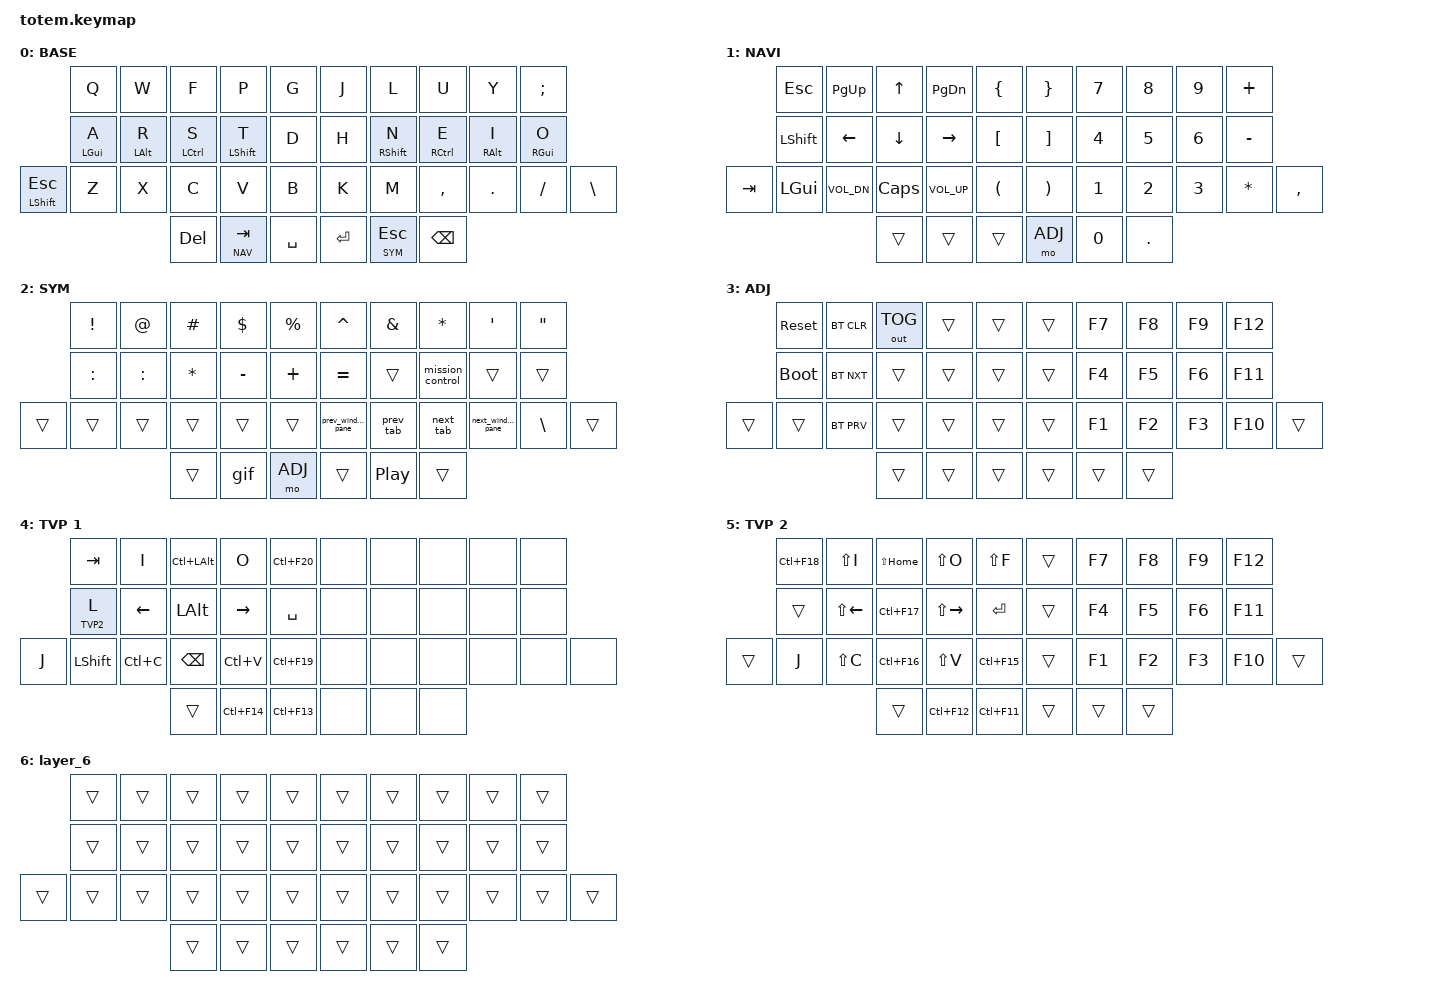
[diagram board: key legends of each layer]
//
//                                                        ▀▀▀▀▀     ▀▀▀▀▀          ▀▀█▀▀
//                                                        ▄▀▀▀▄  ▄  ▄▀▀▀▄  ▄  ▄▀▀▀▄  █  ▄▀▀▀▄
//                                                        █   █  █  █   █  █  █   █  █  █   █
//                                                         ▀▀▀   █   ▀▀▀   █   ▀▀▀   ▀   ▀▀▀
//                                                               █      ▄▄▄█▄▄▄    █   █  
//                                                               ▀      █  █  █     █▄█
//                                                             ▀▀▀▀▀    █  █  █      ▀
//                                                                      ▀  ▀  ▀
//
// ▄▄▄▄▄▄▄▄▄▄▄▄▄▄▄▄▄▄▄▄▄▄▄▄▄▄▄▄▄▄▄▄▄▄▄▄▄▄▄▄▄▄▄▄▄▄▄▄▄▄▄▄▄▄▄▄▄▄▄▄▄▄▄▄▄▄▄▄▄▄▄▄▄▄▄▄▄▄▄▄▄▄▄▄▄▄▄▄▄▄▄▄▄▄▄▄▄▄▄▄▄▄▄▄▄▄▄▄▄▄▄▄▄▄▄▄▄▄▄▄▄▄▄▄▄▄▄▄▄▄▄▄▄▄▄▄▄▄▄▄▄▄▄▄▄▄▄▄▄

#include <behaviors.dtsi>
#include <dt-bindings/zmk/bt.h>
#include <dt-bindings/zmk/keys.h>
#include <dt-bindings/zmk/outputs.h>

#define BASE 0
#define NAV  1
#define SYM  2
#define ADJ  3
#define TVP1 4
#define TVP2 5

&mt {
    quick-tap-ms = <100>;
    global-quick-tap;
    flavor = "tap-preferred";
    tapping-term-ms = <170>;
};

/ {
    combos {
        compatible = "zmk,combos";

        combo_esc {
            timeout-ms = <50>;
            key-positions = <0 1>;
            bindings = <&kp ESC>;
        };

        combo_tvp {
            timeout-ms = <100>;
            key-positions = <11 12 13>;
            bindings = <&tog TVP1>;
        };
    };

    macros {
        gif: gif {
            label = "giphy";
            compatible = "zmk,behavior-macro";
            #binding-cells = <0>;
            bindings =
                <&macro_press>,
                <&kp LSHFT>,
                <&macro_tap>,
                <&kp N2>,
                <&macro_release>,
                <&kp LSHFT>,
                <&macro_tap>,
                <&kp G &kp I &kp F>;
        };

        next_window_pane: next_window_pane {
            compatible = "zmk,behavior-macro";
            #binding-cells = <0>;
            bindings =
                <&macro_press>,
                <&kp LCTRL &kp LEFT_GUI>,
                <&macro_tap>,
                <&kp RIGHT>,
                <&macro_release>,
                <&kp LCTRL &kp LEFT_GUI>;

            label = "NEXT_WINDOW_PANE";
        };

        prev_window_pane: prev_window_pane {
            compatible = "zmk,behavior-macro";
            #binding-cells = <0>;
            bindings =
                <&macro_press>,
                <&kp LCTRL &kp LEFT_GUI>,
                <&macro_tap>,
                <&kp LEFT>,
                <&macro_release>,
                <&kp LCTRL &kp LEFT_GUI>;

            label = "PREV_WINDOW_PANE";
        };

        next_tab: next_tab {
            compatible = "zmk,behavior-macro";
            #binding-cells = <0>;
            bindings =
                <&macro_press>,
                <&kp LCTRL>,
                <&macro_tap>,
                <&kp LEFT_SHIFT>,
                <&macro_release>,
                <&kp LCTRL>;

            label = "NEXT_TAB";
        };

        prev_tab: prev_tab {
            compatible = "zmk,behavior-macro";
            #binding-cells = <0>;
            bindings =
                <&macro_press>,
                <&kp LCTRL &kp LEFT_SHIFT>,
                <&macro_tap>,
                <&kp LEFT_SHIFT>,
                <&macro_release>,
                <&kp LCTRL &kp LSHFT>;

            label = "PREV_TAB";
        };

        mission_control: mission_control {
            compatible = "zmk,behavior-macro";
            #binding-cells = <0>;
            bindings =
                <&macro_press>,
                <&kp LEFT_GUI>,
                <&macro_tap>,
                <&kp TAB>,
                <&macro_release>,
                <&kp LEFT_GUI>;

            label = "MISSION_CONTROL";
        };
    };

    keymap {
        compatible = "zmk,keymap";

        // ▄▄▄▄▄▄▄▄▄▄▄▄▄▄▄▄▄▄▄▄▄▄▄▄▄▄▄▄▄▄▄▄▄▄▄▄▄▄▄▄▄▄▄▄▄▄▄▄▄▄▄▄▄▄▄▄▄▄▄▄▄▄▄▄▄▄▄▄▄▄▄▄▄▄▄▄▄▄▄▄▄▄▄▄▄▄▄▄▄▄▄▄▄▄▄▄▄▄▄▄▄▄▄▄▄▄▄▄▄▄▄▄▄▄▄▄▄▄▄▄▄▄▄▄▄▄▄▄▄▄▄▄▄▄▄▄▄▄▄▄▄▄▄▄▄▄▄▄▄

        base_layer {
            // ┏━━━━━━━━━━━━━━━━━━━━━━━━━━━━━━━━━━━━━━━┓

            label = "BASE";

            // ┗━━━━━━━━━━━━━━━━━━━━━━━━━━━━━━━━━━━━━━━┛
            //             ┏━━━━━━━━━━━┳━━━━━━━━━━━┳━━━━━━━━━━━┳━━━━━━━━━━━┳━━━━━━━━━━━┓   ┏━━━━━━━━━━━┳━━━━━━━━━━━┳━━━━━━━━━━━┳━━━━━━━━━━━┳━━━━━━━━━━━┓
            //             ┃     Q     ┃     W     ┃     F     ┃     P     ┃     G     ┃   ┃     J     ┃     L     ┃     U     ┃     Y     ┃     ;     ┃
            //             ┣━━━━━━━━━━━╋━━━━━━━━━━━╋━━━━━━━━━━━╋━━━━━━━━━━━╋━━━━━━━━━━━┫   ┣━━━━━━━━━━━╋━━━━━━━━━━━╋━━━━━━━━━━━╋━━━━━━━━━━━╋━━━━━━━━━━━┫
            //             ┃     A     ┃     R     ┃     S     ┃     T     ┃     D     ┃   ┃     H     ┃     N     ┃     E     ┃     I     ┃     O     ┃
            // ┏━━━━━━━━━━━╋━━━━━━━━━━━╋━━━━━━━━━━━╋━━━━━━━━━━━╋━━━━━━━━━━━╋━━━━━━━━━━━┫   ┣━━━━━━━━━━━╋━━━━━━━━━━━╋━━━━━━━━━━━╋━━━━━━━━━━━╋━━━━━━━━━━━╋━━━━━━━━━━━┓
            // ┃     Q     ┃     Z     ┃     X     ┃     C     ┃     V     ┃     B     ┃   ┃     K     ┃     M     ┃     ,     ┃     .     ┃     /     ┃     \     ┃
            // ┗━━━━━━━━━━━┻━━━━━━━━━━━┻━━━━━━━━━━━╋━━━━━━━━━━━╋━━━━━━━━━━━╋━━━━━━━━━━━┫   ┣━━━━━━━━━━━╋━━━━━━━━━━━╋━━━━━━━━━━━╋━━━━━━━━━━━┻━━━━━━━━━━━┻━━━━━━━━━━━┛
            //                                     ┃    DEL    ┃    TAB    ┃    SPC    ┃   ┃   ENTER   ┃           ┃   BSPC    ┃
            //                                     ┗━━━━━━━━━━━┻━━━━━━━━━━━┻━━━━━━━━━━━┛   ┗━━━━━━━━━━━┻━━━━━━━━━━━┻━━━━━━━━━━━┛

            bindings = <
                       &kp Q       &kp W       &kp F        &kp P        &kp G        &kp J    &kp L        &kp U        &kp Y       &kp SEMI
                       &mt LGUI A  &mt LALT R  &mt LCTRL S  &mt LSHFT T  &kp D        &kp H    &mt RSHFT N  &mt RCTRL E  &mt RALT I  &mt RGUI O
&mt LEFT_SHIFT ESCAPE  &kp Z       &kp X       &kp C        &kp V        &kp B        &kp K    &kp M        &kp COMMA    &kp DOT     &kp FSLH    &kp BSLH
                                               &kp DEL      &lt NAV TAB  &kp SPACE    &kp RET  &lt SYM ESC  &kp BSPC
            >;
        };

        // ▄▄▄▄▄▄▄▄▄▄▄▄▄▄▄▄▄▄▄▄▄▄▄▄▄▄▄▄▄▄▄▄▄▄▄▄▄▄▄▄▄▄▄▄▄▄▄▄▄▄▄▄▄▄▄▄▄▄▄▄▄▄▄▄▄▄▄▄▄▄▄▄▄▄▄▄▄▄▄▄▄▄▄▄▄▄▄▄▄▄▄▄▄▄▄▄▄▄▄▄▄▄▄▄▄▄▄▄▄▄▄▄▄▄▄▄▄▄▄▄▄▄▄▄▄▄▄▄▄▄▄▄▄▄▄▄▄▄▄▄▄▄▄▄▄▄▄▄▄

        nav_layer {
            // ┏━━━━━━━━━━━━━━━━━━━━━━━━━━━━━━━━━━━━━━━┓

            label = "NAVI";

            // ┗━━━━━━━━━━━━━━━━━━━━━━━━━━━━━━━━━━━━━━━┛
            //             ┏━━━━━━━━━━━┳━━━━━━━━━━━┳━━━━━━━━━━━┳━━━━━━━━━━━┳━━━━━━━━━━━┓   ┏━━━━━━━━━━━┳━━━━━━━━━━━┳━━━━━━━━━━━┳━━━━━━━━━━━┳━━━━━━━━━━━┓
            //             ┃           ┃           ┃     UP    ┃           ┃     {     ┃   ┃     }     ┃     7     ┃     8     ┃     9     ┃     +     ┃
            //             ┣━━━━━━━━━━━╋━━━━━━━━━━━╋━━━━━━━━━━━╋━━━━━━━━━━━╋━━━━━━━━━━━┫   ┣━━━━━━━━━━━╋━━━━━━━━━━━╋━━━━━━━━━━━╋━━━━━━━━━━━╋━━━━━━━━━━━┫
            //             ┃   SHIFT   ┃   LEFT    ┃    DOWN   ┃   RIGHT   ┃     [     ┃   ┃     ]     ┃     4     ┃     5     ┃     6     ┃     -     ┃
            // ┏━━━━━━━━━━━╋━━━━━━━━━━━╋━━━━━━━━━━━╋━━━━━━━━━━━╋━━━━━━━━━━━╋━━━━━━━━━━━┫   ┣━━━━━━━━━━━╋━━━━━━━━━━━╋━━━━━━━━━━━╋━━━━━━━━━━━╋━━━━━━━━━━━╋━━━━━━━━━━━┓
            // ┃           ┃           ┃   P UP    ┃  C LOCK   ┃  P DOWN   ┃     (     ┃   ┃     )     ┃     1     ┃     2     ┃     3     ┃     *     ┃           ┃
            // ┗━━━━━━━━━━━┻━━━━━━━━━━━┻━━━━━━━━━━━╋━━━━━━━━━━━╋━━━━━━━━━━━╋━━━━━━━━━━━┫   ┣━━━━━━━━━━━╋━━━━━━━━━━━╋━━━━━━━━━━━╋━━━━━━━━━━━┻━━━━━━━━━━━┻━━━━━━━━━━━┛
            //                                     ┃           ┃    TAB    ┃    SPC    ┃   ┃    DEL    ┃     0     ┃           ┃
            //                                     ┗━━━━━━━━━━━┻━━━━━━━━━━━┻━━━━━━━━━━━┛   ┗━━━━━━━━━━━┻━━━━━━━━━━━┻━━━━━━━━━━━┛

            bindings = <
         &kp ESC       &kp PAGE_UP   &kp UP    &kp PAGE_DOWN    &kp LBRC    &kp RBRC  &kp N7        &kp N8        &kp N9        &kp PLUS
         &kp LSHFT     &kp LEFT      &kp DOWN  &kp RIGHT        &kp LBKT    &kp RBKT  &kp NUMBER_4  &kp NUMBER_5  &kp N6        &kp MINUS
&kp TAB  &kp LEFT_GUI  &kp C_VOL_DN  &kp CAPS  &kp C_VOLUME_UP  &kp LPAR    &kp RPAR  &kp NUMBER_1  &kp NUMBER_2  &kp NUMBER_3  &kp ASTERISK  &kp COMMA
                                     &trans    &trans           &trans      &mo ADJ   &kp N0        &kp PERIOD
            >;
        };

        // ▄▄▄▄▄▄▄▄▄▄▄▄▄▄▄▄▄▄▄▄▄▄▄▄▄▄▄▄▄▄▄▄▄▄▄▄▄▄▄▄▄▄▄▄▄▄▄▄▄▄▄▄▄▄▄▄▄▄▄▄▄▄▄▄▄▄▄▄▄▄▄▄▄▄▄▄▄▄▄▄▄▄▄▄▄▄▄▄▄▄▄▄▄▄▄▄▄▄▄▄▄▄▄▄▄▄▄▄▄▄▄▄▄▄▄▄▄▄▄▄▄▄▄▄▄▄▄▄▄▄▄▄▄▄▄▄▄▄▄▄▄▄▄▄▄▄▄▄▄

        sim_layer {
            // ┏━━━━━━━━━━━━━━━━━━━━━━━━━━━━━━━━━━━━━━━┓

            label = "SYM";

            // ┗━━━━━━━━━━━━━━━━━━━━━━━━━━━━━━━━━━━━━━━┛
            //             ┏━━━━━━━━━━━┳━━━━━━━━━━━┳━━━━━━━━━━━┳━━━━━━━━━━━┳━━━━━━━━━━━┓   ┏━━━━━━━━━━━┳━━━━━━━━━━━┳━━━━━━━━━━━┳━━━━━━━━━━━┳━━━━━━━━━━━┓
            //             ┃     !     ┃     @     ┃     #     ┃     $     ┃     %     ┃   ┃     ˆ     ┃     &     ┃     Ü     ┃     '     ┃     "     ┃
            //             ┣━━━━━━━━━━━╋━━━━━━━━━━━╋━━━━━━━━━━━╋━━━━━━━━━━━╋━━━━━━━━━━━┫   ┣━━━━━━━━━━━╋━━━━━━━━━━━╋━━━━━━━━━━━╋━━━━━━━━━━━╋━━━━━━━━━━━┫
            //             ┃     Ä     ┃           ┃    SZ     ┃           ┃           ┃   ┃   MUTE    ┃   YEN     ┃   EURO    ┃  POUND    ┃     Ö     ┃
            // ┏━━━━━━━━━━━╋━━━━━━━━━━━╋━━━━━━━━━━━╋━━━━━━━━━━━╋━━━━━━━━━━━╋━━━━━━━━━━━┫   ┣━━━━━━━━━━━╋━━━━━━━━━━━╋━━━━━━━━━━━╋━━━━━━━━━━━╋━━━━━━━━━━━╋━━━━━━━━━━━┓
            // ┃           ┃  EMAIL1   ┃  EMAIL2   ┃           ┃           ┃           ┃   ┃   VOL-    ┃   VOL+    ┃   LAST    ┃   NEXT    ┃     \     ┃           ┃
            // ┗━━━━━━━━━━━┻━━━━━━━━━━━┻━━━━━━━━━━━╋━━━━━━━━━━━╋━━━━━━━━━━━╋━━━━━━━━━━━┫   ┣━━━━━━━━━━━╋━━━━━━━━━━━╋━━━━━━━━━━━╋━━━━━━━━━━━┻━━━━━━━━━━━┻━━━━━━━━━━━┛
            //                                     ┃           ┃    GIF    ┃    ADJ    ┃   ┃           ┃           ┃           ┃
            //                                     ┗━━━━━━━━━━━┻━━━━━━━━━━━┻━━━━━━━━━━━┛   ┗━━━━━━━━━━━┻━━━━━━━━━━━┻━━━━━━━━━━━┛

            bindings = <
        &kp EXCL   &kp AT     &kp HASH      &kp DLLR   &kp PRCNT    &kp CARET          &kp AMPS   &kp ASTERISK      &kp SQT            &kp DQT
        &kp COLON  &kp COLON  &kp ASTERISK  &kp MINUS  &kp PLUS     &kp EQUAL          &trans     &mission_control  &trans             &trans
&trans  &trans     &trans     &trans        &trans     &trans       &prev_window_pane  &prev_tab  &next_tab         &next_window_pane  &kp BSLH  &trans
                              &trans        &gif       &mo ADJ      &trans             &kp C_PP   &trans
            >;
        };

        // ▄▄▄▄▄▄▄▄▄▄▄▄▄▄▄▄▄▄▄▄▄▄▄▄▄▄▄▄▄▄▄▄▄▄▄▄▄▄▄▄▄▄▄▄▄▄▄▄▄▄▄▄▄▄▄▄▄▄▄▄▄▄▄▄▄▄▄▄▄▄▄▄▄▄▄▄▄▄▄▄▄▄▄▄▄▄▄▄▄▄▄▄▄▄▄▄▄▄▄▄▄▄▄▄▄▄▄▄▄▄▄▄▄▄▄▄▄▄▄▄▄▄▄▄▄▄▄▄▄▄▄▄▄▄▄▄▄▄▄▄▄▄▄▄▄▄▄▄▄

        adjust_layer {
            // ┏━━━━━━━━━━━━━━━━━━━━━━━━━━━━━━━━━━━━━━━┓

            label = "ADJ";

            // ┗━━━━━━━━━━━━━━━━━━━━━━━━━━━━━━━━━━━━━━━┛
            //             ┏━━━━━━━━━━━┳━━━━━━━━━━━┳━━━━━━━━━━━┳━━━━━━━━━━━┳━━━━━━━━━━━┓   ┏━━━━━━━━━━━┳━━━━━━━━━━━┳━━━━━━━━━━━┳━━━━━━━━━━━┳━━━━━━━━━━━┓
            //             ┃   RESET   ┃ BT CLEAR  ┃  OUT TOG  ┃           ┃           ┃   ┃           ┃    F7     ┃    F8     ┃    F9     ┃    F12    ┃
            //             ┣━━━━━━━━━━━╋━━━━━━━━━━━╋━━━━━━━━━━━╋━━━━━━━━━━━╋━━━━━━━━━━━┫   ┣━━━━━━━━━━━╋━━━━━━━━━━━╋━━━━━━━━━━━╋━━━━━━━━━━━╋━━━━━━━━━━━┫
            //             ┃ BOOTLOAD  ┃ BT NEXT   ┃           ┃           ┃           ┃   ┃           ┃    F4     ┃    F5     ┃    F6     ┃    F11    ┃
            // ┏━━━━━━━━━━━╋━━━━━━━━━━━╋━━━━━━━━━━━╋━━━━━━━━━━━╋━━━━━━━━━━━╋━━━━━━━━━━━┫   ┣━━━━━━━━━━━╋━━━━━━━━━━━╋━━━━━━━━━━━╋━━━━━━━━━━━╋━━━━━━━━━━━╋━━━━━━━━━━━┓
            // ┃           ┃           ┃ BT PREV   ┃           ┃           ┃           ┃   ┃           ┃    F1     ┃    F2     ┃    F3     ┃    F10    ┃           ┃
            // ┗━━━━━━━━━━━┻━━━━━━━━━━━┻━━━━━━━━━━━╋━━━━━━━━━━━╋━━━━━━━━━━━╋━━━━━━━━━━━┫   ┣━━━━━━━━━━━╋━━━━━━━━━━━╋━━━━━━━━━━━╋━━━━━━━━━━━┻━━━━━━━━━━━┻━━━━━━━━━━━┛
            //                                     ┃           ┃           ┃           ┃   ┃           ┃           ┃           ┃
            //                                     ┗━━━━━━━━━━━┻━━━━━━━━━━━┻━━━━━━━━━━━┛   ┗━━━━━━━━━━━┻━━━━━━━━━━━┻━━━━━━━━━━━┛

            bindings = <
        &sys_reset   &bt BT_CLR  &out OUT_TOG  &trans  &trans    &trans  &kp F7  &kp F8  &kp F9  &kp F12
        &bootloader  &bt BT_NXT  &trans        &trans  &trans    &trans  &kp F4  &kp F5  &kp F6  &kp F11
&trans  &trans       &bt BT_PRV  &trans        &trans  &trans    &trans  &kp F1  &kp F2  &kp F3  &kp F10  &trans
                                 &trans        &trans  &trans    &trans  &trans  &trans
            >;
        };

        // ▄▄▄▄▄▄▄▄▄▄▄▄▄▄▄▄▄▄▄▄▄▄▄▄▄▄▄▄▄▄▄▄▄▄▄▄▄▄▄▄▄▄▄▄▄▄▄▄▄▄▄▄▄▄▄▄▄▄▄▄▄▄▄▄▄▄▄▄▄▄▄▄▄▄▄▄▄▄▄▄▄▄▄▄▄▄▄▄▄▄▄▄▄▄▄▄▄▄▄▄▄▄▄▄▄▄▄▄▄▄▄▄▄▄▄▄▄▄▄▄▄▄▄▄▄▄▄▄▄▄▄▄▄▄▄▄▄▄▄▄▄▄▄▄▄▄▄▄▄

        tvp1_layer {
            // ┏━━━━━━━━━━━━━━━━━━━━━━━━━━━━━━━━━━━━━━━┓

            label = "TVP 1";

            // ┗━━━━━━━━━━━━━━━━━━━━━━━━━━━━━━━━━━━━━━━┛
            //             ┏━━━━━━━━━━━┳━━━━━━━━━━━┳━━━━━━━━━━━┳━━━━━━━━━━━┳━━━━━━━━━━━┓   ┏━━━━━━━━━━━┳━━━━━━━━━━━┳━━━━━━━━━━━┳━━━━━━━━━━━┳━━━━━━━━━━━┓
            //             ┃ NEXT FILE ┃ MARK IN   ┃ ROTATE    ┃ MARK OUT  ┃ SHOW SNAP ┃   ┃           ┃           ┃           ┃           ┃           ┃
            //             ┣━━━━━━━━━━━╋━━━━━━━━━━━╋━━━━━━━━━━━╋━━━━━━━━━━━╋━━━━━━━━━━━┫   ┣━━━━━━━━━━━╋━━━━━━━━━━━╋━━━━━━━━━━━╋━━━━━━━━━━━╋━━━━━━━━━━━┫
            //             ┃ TVP II    ┃ LEFT      ┃ PAN       ┃ RIGHT     ┃ PLAY/FLIP ┃   ┃           ┃           ┃           ┃           ┃           ┃
            // ┏━━━━━━━━━━━╋━━━━━━━━━━━╋━━━━━━━━━━━╋━━━━━━━━━━━╋━━━━━━━━━━━╋━━━━━━━━━━━┫   ┣━━━━━━━━━━━╋━━━━━━━━━━━╋━━━━━━━━━━━╋━━━━━━━━━━━╋━━━━━━━━━━━╋━━━━━━━━━━━┓
            // ┃ FULLSCR   ┃ SHIFT     ┃ COPY      ┃ DELETE    ┃ PASTE     ┃ IMG MARK  ┃   ┃           ┃           ┃           ┃           ┃           ┃           ┃
            // ┗━━━━━━━━━━━┻━━━━━━━━━━━┻━━━━━━━━━━━╋━━━━━━━━━━━╋━━━━━━━━━━━╋━━━━━━━━━━━┫   ┣━━━━━━━━━━━╋━━━━━━━━━━━╋━━━━━━━━━━━╋━━━━━━━━━━━┻━━━━━━━━━━━┻━━━━━━━━━━━┛
            //                                     ┃           ┃ UNDO/SAVE ┃  SEL/MOV  ┃   ┃           ┃           ┃           ┃
            //                                     ┗━━━━━━━━━━━┻━━━━━━━━━━━┻━━━━━━━━━━━┛   ┗━━━━━━━━━━━┻━━━━━━━━━━━┻━━━━━━━━━━━┛

            bindings = <
       &kp TAB     &kp I      &kp LC(LALT)  &kp O        &kp LC(F20)    &none  &none  &none  &none  &none
       &lt TVP2 L  &kp LEFT   &kp LALT      &kp RIGHT    &kp SPACE      &none  &none  &none  &none  &none
&kp J  &kp LSHFT   &kp LC(C)  &kp BSPC      &kp LC(V)    &kp LC(F19)    &none  &none  &none  &none  &none  &none
                              &trans        &kp LC(F14)  &kp LC(F13)    &none  &none  &none
            >;
        };

        // ▄▄▄▄▄▄▄▄▄▄▄▄▄▄▄▄▄▄▄▄▄▄▄▄▄▄▄▄▄▄▄▄▄▄▄▄▄▄▄▄▄▄▄▄▄▄▄▄▄▄▄▄▄▄▄▄▄▄▄▄▄▄▄▄▄▄▄▄▄▄▄▄▄▄▄▄▄▄▄▄▄▄▄▄▄▄▄▄▄▄▄▄▄▄▄▄▄▄▄▄▄▄▄▄▄▄▄▄▄▄▄▄▄▄▄▄▄▄▄▄▄▄▄▄▄▄▄▄▄▄▄▄▄▄▄▄▄▄▄▄▄▄▄▄▄▄▄▄▄

        tvp2_layer {
            // ┏━━━━━━━━━━━━━━━━━━━━━━━━━━━━━━━━━━━━━━━┓

            label = "TVP 2";

            // ┗━━━━━━━━━━━━━━━━━━━━━━━━━━━━━━━━━━━━━━━┛
            //             ┏━━━━━━━━━━━┳━━━━━━━━━━━┳━━━━━━━━━━━┳━━━━━━━━━━━┳━━━━━━━━━━━┓   ┏━━━━━━━━━━━┳━━━━━━━━━━━┳━━━━━━━━━━━┳━━━━━━━━━━━┳━━━━━━━━━━━┓
            //             ┃ SOLO      ┃ TOGGLE IN ┃ RESET ROT ┃ TOGGLE OUT┃ TAKE SNAP ┃   ┃           ┃           ┃           ┃           ┃           ┃
            //             ┣━━━━━━━━━━━╋━━━━━━━━━━━╋━━━━━━━━━━━╋━━━━━━━━━━━╋━━━━━━━━━━━┫   ┣━━━━━━━━━━━╋━━━━━━━━━━━╋━━━━━━━━━━━╋━━━━━━━━━━━╋━━━━━━━━━━━┫
            //             ┃ ---       ┃ LAST KEY  ┃ NEW KEY   ┃ NEXT KEY  ┃ ENTER     ┃   ┃           ┃           ┃           ┃           ┃           ┃
            // ┏━━━━━━━━━━━╋━━━━━━━━━━━╋━━━━━━━━━━━╋━━━━━━━━━━━╋━━━━━━━━━━━╋━━━━━━━━━━━┫   ┣━━━━━━━━━━━╋━━━━━━━━━━━╋━━━━━━━━━━━╋━━━━━━━━━━━╋━━━━━━━━━━━╋━━━━━━━━━━━┓
            // ┃           ┃ FULLSCR   ┃ CPY2BRUSH ┃ DEL HEAD  ┃ PSTinPLACE┃ BOOK MARK ┃   ┃           ┃           ┃           ┃           ┃           ┃           ┃
            // ┗━━━━━━━━━━━┻━━━━━━━━━━━┻━━━━━━━━━━━╋━━━━━━━━━━━╋━━━━━━━━━━━╋━━━━━━━━━━━┫   ┣━━━━━━━━━━━╋━━━━━━━━━━━╋━━━━━━━━━━━╋━━━━━━━━━━━┻━━━━━━━━━━━┻━━━━━━━━━━━┛
            //                                     ┃           ┃ REDO/SAV1 ┃TRANS/WARP ┃   ┃           ┃           ┃           ┃
            //                                     ┗━━━━━━━━━━━┻━━━━━━━━━━━┻━━━━━━━━━━━┛   ┗━━━━━━━━━━━┻━━━━━━━━━━━┻━━━━━━━━━━━┛

            bindings = <
        &kp LC(F18)  &kp LS(I)     &kp LS(HOME)  &kp LS(O)      &kp LS(F)      &trans  &kp F7  &kp F8  &kp F9  &kp F12
        &trans       &kp LS(LEFT)  &kp LC(F17)   &kp LS(RIGHT)  &kp RET        &trans  &kp F4  &kp F5  &kp F6  &kp F11
&trans  &kp J        &kp LS(C)     &kp LC(F16)   &kp LS(V)      &kp LC(F15)    &trans  &kp F1  &kp F2  &kp F3  &kp F10  &trans
                                   &trans        &kp LC(F12)    &kp LC(F11)    &trans  &trans  &trans
            >;
        };

        layer_6 {
            bindings = <
        &trans  &trans  &trans  &trans  &trans    &trans  &trans  &trans  &trans  &trans
        &trans  &trans  &trans  &trans  &trans    &trans  &trans  &trans  &trans  &trans
&trans  &trans  &trans  &trans  &trans  &trans    &trans  &trans  &trans  &trans  &trans  &trans
                        &trans  &trans  &trans    &trans  &trans  &trans
            >;
        };
    };
};
